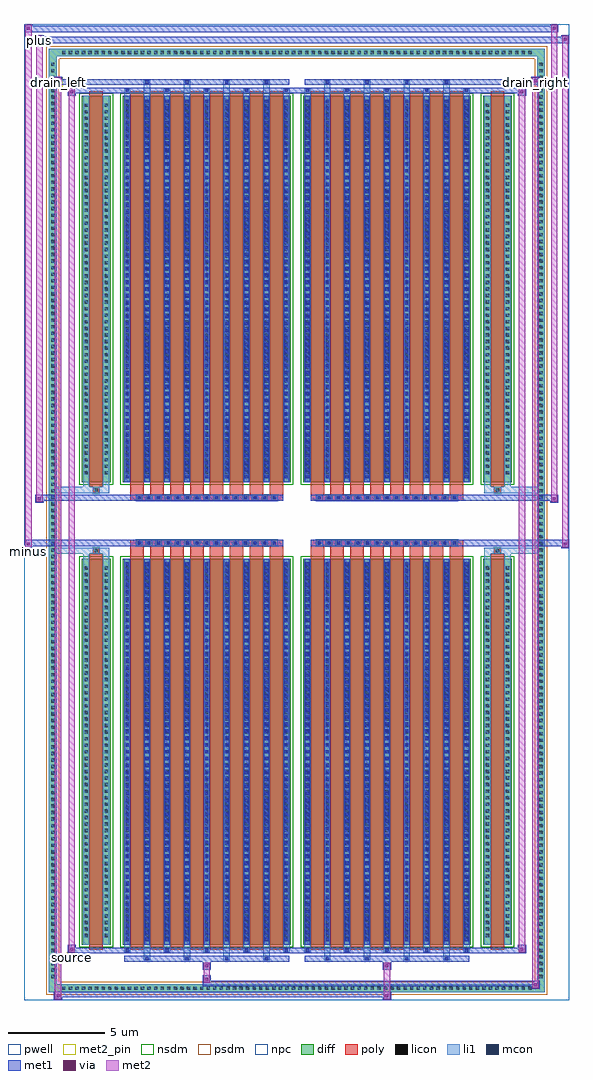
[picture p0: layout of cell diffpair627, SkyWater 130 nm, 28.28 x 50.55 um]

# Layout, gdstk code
import gdstk
lib = gdstk.Library(unit=1e-6, precision=5e-09)
def R(c, l, rs):  # rectangles x0, y0, x1, y1
    for r in rs: c.add(gdstk.rectangle(r[:2], r[2:], *l))
def A(c, l, x, y, w, h, nx, ny, dx, dy):  # array of equal rectangles
    R(c, l, [(x+i*dx, y+j*dy, x+i*dx+w, y+j*dy+h) for i in range(nx) for j in range(ny)])
def P(c, l, *ps):  # polygons
    for p in ps: c.add(gdstk.Polygon(p, *l))
pwell = (64, 44)
diff = (65, 20)
poly = (66, 20)
licon = (66, 44)
li1 = (67, 20)
mcon = (67, 44)
met1 = (68, 20)
via = (68, 44)
met2_pin = (69, 16)
met2 = (69, 20)
nsdm = (93, 44)
psdm = (94, 20)
npc = (95, 20)

diffpair627 = lib.new_cell('diffpair627')
R(diffpair627, pwell, [(-14.12,-24.84,14.12,25.71), (-11.44,-23.03,-0.01,-0.805), (0.01,-23.03,11.44,-0.805), (-11.44,0.805,-0.01,23.03), (0.01,0.805,11.44,23.03)])
A(diffpair627, diff, -12.275, -24.44, 0.41, 0.41, 72, 2, 0.34, 48.47)
A(diffpair627, diff, -12.85, -23.835, 0.41, 0.41, 1, 140, 0, 0.34)
A(diffpair627, diff, 12.44, -23.835, 0.41, 0.41, 1, 140, 0, 0.34)
R(diffpair627, diff, [(-12.275,-24.44,12.275,-24.03), (-12.85,-23.835,-12.44,23.835), (12.44,-23.835,12.85,23.835), (-11.13,-21.985,-9.65,-1.985), (-9.01,-21.985,-0.32,-1.985), (0.32,-21.985,9.01,-1.985), (9.65,-21.985,11.13,-1.985), (-11.13,1.985,-9.65,21.985), (-9.01,1.985,-0.32,21.985), (0.32,1.985,9.01,21.985), (9.65,1.985,11.13,21.985), (-12.275,24.03,12.275,24.44)])
P(diffpair627, diff, [(12.85,24.44),(-12.85,24.44),(-12.85,-24.03),(-12.44,-24.03),(-12.44,24.03),(12.44,24.03),(12.44,-24.03),(-12.44,-24.03),(-12.85,-24.03),(-12.85,-24.44),(12.85,-24.44)])
A(diffpair627, poly, -8.62, -22.235, 0.7, 20.5, 8, 2, 1.03, 23.97)
A(diffpair627, poly, 0.71, -22.235, 0.7, 20.5, 8, 2, 1.03, 23.97)
A(diffpair627, poly, -8.62, -1.735, 0.7, 0.4, 8, 2, 1.03, 3.07)
A(diffpair627, poly, 0.71, -1.735, 0.7, 0.4, 8, 2, 1.03, 3.07)
A(diffpair627, poly, -8.33, -1.335, 0.33, 0.33, 15, 2, 0.5, 2.34)
A(diffpair627, poly, 1, -1.335, 0.33, 0.33, 15, 2, 0.5, 2.34)
R(diffpair627, poly, [(-10.74,-22.235,-10.04,-1.735), (10.04,-22.235,10.74,-1.735), (-10.555,-1.735,-10.225,-1.405), (-10.555,-1.735,-10.225,-1.405), (10.225,-1.735,10.555,-1.405), (10.225,-1.735,10.555,-1.405), (-8.62,-1.335,-0.71,-1.005), (0.71,-1.335,8.62,-1.005), (-8.62,1.005,-0.71,1.335), (0.71,1.005,8.62,1.335), (-10.555,1.405,-10.225,1.735), (-10.555,1.405,-10.225,1.735), (10.225,1.405,10.555,1.735), (10.225,1.405,10.555,1.735), (-10.74,1.735,-10.04,22.235), (10.04,1.735,10.74,22.235)])
A(diffpair627, licon, -12.155, -24.32, 0.17, 0.17, 72, 2, 0.34, 48.47)
A(diffpair627, licon, -12.73, -23.715, 0.17, 0.17, 1, 140, 0, 0.34)
A(diffpair627, licon, 12.56, -23.715, 0.17, 0.17, 1, 140, 0, 0.34)
A(diffpair627, licon, -10.99, -21.59, 0.17, 0.17, 1, 57, 0, 0.34)
A(diffpair627, licon, -9.96, -21.59, 0.17, 0.17, 1, 57, 0, 0.34)
A(diffpair627, licon, -8.87, -21.59, 0.17, 0.17, 9, 57, 1.03, 0.34)
A(diffpair627, licon, 0.46, -21.59, 0.17, 0.17, 9, 57, 1.03, 0.34)
A(diffpair627, licon, 9.79, -21.59, 0.17, 0.17, 1, 57, 0, 0.34)
A(diffpair627, licon, 10.82, -21.59, 0.17, 0.17, 1, 57, 0, 0.34)
A(diffpair627, licon, -8.25, -1.255, 0.17, 0.17, 15, 2, 0.5, 2.34)
A(diffpair627, licon, 1.08, -1.255, 0.17, 0.17, 15, 2, 0.5, 2.34)
A(diffpair627, licon, -10.99, 2.38, 0.17, 0.17, 1, 57, 0, 0.34)
A(diffpair627, licon, -9.96, 2.38, 0.17, 0.17, 1, 57, 0, 0.34)
A(diffpair627, licon, -8.87, 2.38, 0.17, 0.17, 9, 57, 1.03, 0.34)
A(diffpair627, licon, 0.46, 2.38, 0.17, 0.17, 9, 57, 1.03, 0.34)
A(diffpair627, licon, 9.79, 2.38, 0.17, 0.17, 1, 57, 0, 0.34)
A(diffpair627, licon, 10.82, 2.38, 0.17, 0.17, 1, 57, 0, 0.34)
R(diffpair627, licon, [(-10.475,-1.655,-10.305,-1.485), (10.305,-1.655,10.475,-1.485), (-10.475,1.485,-10.305,1.655), (10.305,1.485,10.475,1.655)])
A(diffpair627, li1, -12.235, -24.4, 0.33, 0.33, 72, 2, 0.34, 48.47)
A(diffpair627, li1, -12.81, -23.795, 0.33, 0.33, 1, 140, 0, 0.34)
A(diffpair627, li1, 12.48, -23.795, 0.33, 0.33, 1, 140, 0, 0.34)
A(diffpair627, li1, -7.92, -22.79, 0.33, 0.805, 4, 2, 2.06, 44.775)
A(diffpair627, li1, -7.84, -22.79, 0.17, 0.17, 4, 2, 2.06, 45.41)
A(diffpair627, li1, 1.41, -22.79, 0.33, 0.805, 4, 2, 2.06, 44.775)
A(diffpair627, li1, 1.49, -22.79, 0.17, 0.17, 4, 2, 2.06, 45.41)
A(diffpair627, li1, -8.95, -22.36, 0.33, 0.375, 5, 2, 2.06, 44.345)
A(diffpair627, li1, -8.87, -22.36, 0.17, 0.17, 5, 2, 2.06, 44.55)
A(diffpair627, li1, 0.38, -22.36, 0.33, 0.375, 5, 2, 2.06, 44.345)
A(diffpair627, li1, 0.46, -22.36, 0.17, 0.17, 5, 2, 2.06, 44.55)
A(diffpair627, li1, -8.95, -21.985, 0.33, 20, 9, 2, 1.03, 23.97)
A(diffpair627, li1, 0.38, -21.985, 0.33, 20, 9, 2, 1.03, 23.97)
A(diffpair627, li1, -8.87, -21.79, 0.17, 0.17, 9, 55, 1.03, 0.36)
A(diffpair627, li1, -8.87, -21.79, 0.17, 19.61, 9, 2, 1.03, 23.97)
A(diffpair627, li1, 0.46, -21.79, 0.17, 0.17, 9, 55, 1.03, 0.36)
A(diffpair627, li1, 0.46, -21.79, 0.17, 19.61, 9, 2, 1.03, 23.97)
A(diffpair627, li1, -11.07, -21.67, 0.33, 0.33, 1, 57, 0, 0.34)
A(diffpair627, li1, -10.04, -21.67, 0.33, 0.33, 1, 57, 0, 0.34)
A(diffpair627, li1, -8.95, -21.67, 0.33, 0.33, 9, 57, 1.03, 0.34)
A(diffpair627, li1, 0.38, -21.67, 0.33, 0.33, 9, 57, 1.03, 0.34)
A(diffpair627, li1, 9.71, -21.67, 0.33, 0.33, 1, 57, 0, 0.34)
A(diffpair627, li1, 10.74, -21.67, 0.33, 0.33, 1, 57, 0, 0.34)
A(diffpair627, li1, -8.33, -1.335, 0.33, 0.33, 15, 2, 0.5, 2.34)
A(diffpair627, li1, 1, -1.335, 0.33, 0.33, 15, 2, 0.5, 2.34)
A(diffpair627, li1, -8.87, 2.18, 0.17, 0.17, 9, 55, 1.03, 0.36)
A(diffpair627, li1, 0.46, 2.18, 0.17, 0.17, 9, 55, 1.03, 0.36)
A(diffpair627, li1, -11.07, 2.3, 0.33, 0.33, 1, 57, 0, 0.34)
A(diffpair627, li1, -10.04, 2.3, 0.33, 0.33, 1, 57, 0, 0.34)
A(diffpair627, li1, -8.95, 2.3, 0.33, 0.33, 9, 57, 1.03, 0.34)
A(diffpair627, li1, 0.38, 2.3, 0.33, 0.33, 9, 57, 1.03, 0.34)
A(diffpair627, li1, 9.71, 2.3, 0.33, 0.33, 1, 57, 0, 0.34)
A(diffpair627, li1, 10.74, 2.3, 0.33, 0.33, 1, 57, 0, 0.34)
R(diffpair627, li1, [(-12.85,-24.44,-12.44,-24.03), (-12.85,-24.44,-12.44,-24.03), (-12.44,-24.44,12.44,-24.03), (12.44,-24.44,12.85,-24.03), (12.44,-24.44,12.85,-24.03), (-12.85,-24.03,-12.44,24.03), (12.44,-24.03,12.85,24.03), (-11.07,-21.985,-10.74,-1.985), (-10.04,-21.985,-9.71,-1.985), (9.71,-21.985,10.04,-1.985), (10.74,-21.985,11.07,-1.985), (-11.07,-1.985,-10.74,-1.405), (-10.04,-1.985,-9.71,-1.405), (9.71,-1.985,10.04,-1.405), (10.74,-1.985,11.07,-1.405), (-12.85,-1.735,-10.555,-1.405), (-11.07,-1.735,-10.555,-1.405), (-10.555,-1.735,-10.225,-1.405), (-10.225,-1.735,-9.71,-1.405), (9.71,-1.735,10.225,-1.405), (10.225,-1.735,10.555,-1.405), (10.225,-1.735,12.85,-1.405), (10.555,-1.735,11.07,-1.405), (-12.85,1.405,-10.555,1.735), (-11.07,1.405,-10.555,1.735), (-11.07,1.405,-10.74,1.985), (-10.555,1.405,-10.225,1.735), (-10.225,1.405,-9.71,1.735), (-10.04,1.405,-9.71,1.985), (9.71,1.405,10.225,1.735), (9.71,1.405,10.04,1.985), (10.225,1.405,10.555,1.735), (10.225,1.405,12.85,1.735), (10.555,1.405,11.07,1.735), (10.74,1.405,11.07,1.985), (-11.07,1.985,-10.74,21.985), (-10.04,1.985,-9.71,21.985), (9.71,1.985,10.04,21.985), (10.74,1.985,11.07,21.985), (-12.85,24.03,-12.44,24.44), (-12.85,24.03,-12.44,24.44), (-12.44,24.03,12.44,24.44), (12.44,24.03,12.85,24.44), (12.44,24.03,12.85,24.44)])
A(diffpair627, mcon, -7.84, -22.79, 0.17, 0.17, 4, 2, 2.06, 45.41)
A(diffpair627, mcon, 1.49, -22.79, 0.17, 0.17, 4, 2, 2.06, 45.41)
A(diffpair627, mcon, -8.87, -22.36, 0.17, 0.17, 5, 2, 2.06, 44.55)
A(diffpair627, mcon, 0.46, -22.36, 0.17, 0.17, 5, 2, 2.06, 44.55)
A(diffpair627, mcon, -8.87, -21.79, 0.17, 0.17, 9, 55, 1.03, 0.36)
A(diffpair627, mcon, 0.46, -21.79, 0.17, 0.17, 9, 55, 1.03, 0.36)
A(diffpair627, mcon, -8.25, -1.255, 0.17, 0.17, 15, 2, 0.5, 2.34)
A(diffpair627, mcon, 1.08, -1.255, 0.17, 0.17, 15, 2, 0.5, 2.34)
A(diffpair627, mcon, -8.87, 2.18, 0.17, 0.17, 9, 55, 1.03, 0.36)
A(diffpair627, mcon, 0.46, 2.18, 0.17, 0.17, 9, 55, 1.03, 0.36)
A(diffpair627, met1, -7.9, -22.85, 0.29, 0.29, 4, 2, 2.06, 45.41)
A(diffpair627, met1, 1.43, -22.85, 0.29, 0.29, 4, 2, 2.06, 45.41)
A(diffpair627, met1, -8.93, -22.42, 0.29, 0.29, 5, 2, 2.06, 44.55)
A(diffpair627, met1, 0.4, -22.42, 0.29, 0.29, 5, 2, 2.06, 44.55)
A(diffpair627, met1, -8.93, -21.985, 0.29, 20, 9, 2, 1.03, 23.97)
A(diffpair627, met1, 0.4, -21.985, 0.29, 20, 9, 2, 1.03, 23.97)
A(diffpair627, met1, -8.93, -21.85, 0.29, 0.29, 9, 55, 1.03, 0.36)
A(diffpair627, met1, 0.4, -21.85, 0.29, 0.29, 9, 55, 1.03, 0.36)
A(diffpair627, met1, -8.31, -1.315, 0.29, 0.29, 15, 2, 0.5, 2.34)
A(diffpair627, met1, 1.02, -1.315, 0.29, 0.29, 15, 2, 0.5, 2.34)
A(diffpair627, met1, -8.93, 2.12, 0.29, 0.29, 9, 55, 1.03, 0.36)
A(diffpair627, met1, 0.4, 2.12, 0.29, 0.29, 9, 55, 1.03, 0.36)
R(diffpair627, met1, [(-12.58,-24.84,-12.15,-24.41), (4.45,-24.84,4.88,-24.41), (-12.58,-24.7,4.88,-24.41), (12.15,-24.27,12.58,-23.84), (-4.88,-24.13,12.58,-23.84), (-4.88,-23.99,-4.45,-23.56), (-4.88,-23.28,-4.45,-22.85), (4.45,-23.28,4.88,-22.85), (-8.93,-22.85,-0.4,-22.56), (0.4,-22.85,8.93,-22.56), (-11.87,-22.42,-11.44,-21.99), (-11.87,-22.42,-8.93,-22.13), (-8.93,-22.42,-0.4,-22.13), (-0.4,-22.42,0.4,-22.13), (0.4,-22.42,8.93,-22.13), (8.93,-22.42,11.87,-22.13), (11.44,-22.42,11.87,-21.99), (-14.12,-1.435,-13.69,-1.005), (13.69,-1.435,14.12,-1.005), (-14.12,-1.335,-0.71,-1.005), (-8.62,-1.335,-0.71,-1.005), (0.71,-1.335,8.62,-1.005), (0.71,-1.335,14.12,-1.005), (-13.55,0.905,-13.12,1.335), (13.12,0.905,13.55,1.335), (-13.55,1.005,-8.62,1.335), (-8.62,1.005,-0.71,1.335), (0.71,1.005,8.62,1.335), (8.62,1.005,13.55,1.335), (-11.87,21.99,-11.44,22.42), (11.44,21.99,11.87,22.42), (-11.87,22.13,-8.93,22.42), (-8.93,22.13,-0.4,22.42), (-0.4,22.13,0.4,22.42), (0.4,22.13,8.93,22.42), (8.93,22.13,11.87,22.42), (-12.58,22.56,-12.15,22.99), (-12.58,22.56,-8.93,22.85), (-8.93,22.56,-0.4,22.85), (0.4,22.56,8.93,22.85), (8.93,22.56,12.58,22.85), (12.15,22.56,12.58,22.99), (-13.55,24.71,-13.12,25.14), (-13.55,24.71,-11.44,25.04), (-11.44,24.71,11.44,25.04), (11.44,24.71,14.12,25.04), (13.69,24.71,14.12,25.14), (-14.12,25.28,-13.69,25.71), (-14.12,25.28,-11.44,25.61), (-11.44,25.28,11.44,25.61), (11.44,25.28,13.55,25.61), (13.12,25.28,13.55,25.71)])
R(diffpair627, via, [(-12.44,-24.7,-12.29,-24.55), (4.59,-24.7,4.74,-24.55), (12.29,-24.13,12.44,-23.98), (-4.74,-23.85,-4.59,-23.7), (-4.74,-23.14,-4.59,-22.99), (4.59,-23.14,4.74,-22.99), (-11.73,-22.28,-11.58,-22.13), (11.58,-22.28,11.73,-22.13), (-13.98,-1.295,-13.83,-1.145), (13.83,-1.295,13.98,-1.145), (-13.41,1.045,-13.26,1.195), (13.26,1.045,13.41,1.195), (-11.73,22.13,-11.58,22.28), (11.58,22.13,11.73,22.28), (-12.44,22.7,-12.29,22.85), (12.29,22.7,12.44,22.85), (-13.41,24.85,-13.26,25), (13.83,24.85,13.98,25), (-13.98,25.42,-13.83,25.57), (13.26,25.42,13.41,25.57)])
R(diffpair627, met2_pin, [(-11.905,-22.87,-11.405,-22.37), (-14.155,-1.885,-13.655,-1.385), (-12.615,22.44,-12.115,22.94), (12.115,22.44,12.615,22.94), (-13.585,24.59,-13.085,25.09)])
R(diffpair627, met2, [(-12.53,-24.79,-12.2,-24.46), (-12.53,-24.79,-12.2,22.94), (4.5,-24.79,4.83,-24.46), (4.5,-24.46,4.83,-23.23), (12.2,-24.22,12.53,-23.89), (12.2,-24.22,12.53,22.94), (-4.83,-23.94,-4.5,-23.61), (-4.83,-23.61,-4.5,-23.23), (-4.83,-23.23,-4.5,-22.9), (4.5,-23.23,4.83,-22.9), (-11.82,-22.37,-11.49,-22.04), (-11.82,-22.37,-11.49,22.37), (11.49,-22.37,11.82,-22.04), (11.49,-22.37,11.82,22.37), (-14.07,-1.385,-13.74,-1.055), (-14.07,-1.385,-13.74,25.66), (13.74,-1.385,14.07,-1.055), (13.74,-1.385,14.07,25.09), (-13.5,0.955,-13.17,1.285), (-13.5,0.955,-13.17,25.09), (13.17,0.955,13.5,1.285), (13.17,0.955,13.5,25.66), (-11.82,22.04,-11.49,22.37), (11.49,22.04,11.82,22.37), (-12.53,22.61,-12.2,22.94), (12.2,22.61,12.53,22.94), (-13.5,24.76,-13.17,25.09), (13.74,24.76,14.07,25.09), (-14.07,25.33,-13.74,25.66), (13.17,25.33,13.5,25.66)])
P(diffpair627, met2, [(14.07,-1.385),(14.07,-1.385),(14.07,-1.055),(14.07,-1.055)],
  [(14.07,24.76),(14.07,24.76),(14.07,25.09),(14.07,25.09)],
  [(-13.74,-1.385),(-13.74,-1.385),(-13.74,-1.055),(-13.74,-1.055)],
  [(-13.74,25.33),(-13.74,25.33),(-13.74,25.66),(-13.74,25.66)],
  [(13.5,0.955),(13.5,0.955),(13.5,1.285),(13.5,1.285)],
  [(13.5,25.33),(13.5,25.33),(13.5,25.66),(13.5,25.66)],
  [(-13.17,0.955),(-13.17,0.955),(-13.17,1.285),(-13.17,1.285)],
  [(-13.17,24.76),(-13.17,24.76),(-13.17,25.09),(-13.17,25.09)],
  [(-12.2,-24.79),(-12.2,-24.79),(-12.2,-24.46),(-12.2,-24.46)],
  [(-12.2,22.61),(-12.2,22.61),(-12.2,22.94),(-12.2,22.94)],
  [(12.53,-24.22),(12.53,-24.22),(12.53,-23.89),(12.53,-23.89)],
  [(12.53,22.61),(12.53,22.61),(12.53,22.94),(12.53,22.94)],
  [(-11.49,-22.37),(-11.49,-22.37),(-11.49,-22.04),(-11.49,-22.04)],
  [(-11.49,22.04),(-11.49,22.04),(-11.49,22.37),(-11.49,22.37)],
  [(11.82,-22.37),(11.82,-22.37),(11.82,-22.04),(11.82,-22.04)],
  [(11.82,22.04),(11.82,22.04),(11.82,22.37),(11.82,22.37)])
R(diffpair627, nsdm, [(-11.26,-22.115,-9.52,-1.855), (-9.14,-22.115,-0.19,-1.855), (0.19,-22.115,9.14,-1.855), (9.52,-22.115,11.26,-1.855), (-11.26,1.855,-9.52,22.115), (-9.14,1.855,-0.19,22.115), (0.19,1.855,9.14,22.115), (9.52,1.855,11.26,22.115)])
P(diffpair627, psdm, [(12.98,24.57),(-12.98,24.57),(-12.98,-23.9),(-12.31,-23.9),(-12.31,23.9),(12.31,23.9),(12.31,-23.9),(-12.31,-23.9),(-12.98,-23.9),(-12.98,-24.57),(12.98,-24.57)])
A(diffpair627, npc, -8.35, -1.355, 0.37, 0.37, 15, 2, 0.5, 2.34)
A(diffpair627, npc, 0.98, -1.355, 0.37, 0.37, 15, 2, 0.5, 2.34)
R(diffpair627, npc, [(-10.575,-1.755,-10.205,-1.385), (10.205,-1.755,10.575,-1.385), (-8.35,-1.355,-7.48,-0.985), (-8.35,-1.355,-7.48,-0.985), (-7.85,-1.355,-6.98,-0.985), (-7.85,-1.355,-6.98,-0.985), (-7.35,-1.355,-6.48,-0.985), (-7.35,-1.355,-6.48,-0.985), (-6.85,-1.355,-5.98,-0.985), (-6.85,-1.355,-5.98,-0.985), (-6.35,-1.355,-5.48,-0.985), (-6.35,-1.355,-5.48,-0.985), (-5.85,-1.355,-4.98,-0.985), (-5.85,-1.355,-4.98,-0.985), (-5.35,-1.355,-4.48,-0.985), (-5.35,-1.355,-4.48,-0.985), (-4.85,-1.355,-3.98,-0.985), (-4.85,-1.355,-3.98,-0.985), (-4.35,-1.355,-3.48,-0.985), (-4.35,-1.355,-3.48,-0.985), (-3.85,-1.355,-2.98,-0.985), (-3.85,-1.355,-2.98,-0.985), (-3.35,-1.355,-2.48,-0.985), (-3.35,-1.355,-2.48,-0.985), (-2.85,-1.355,-1.98,-0.985), (-2.85,-1.355,-1.98,-0.985), (-2.35,-1.355,-1.48,-0.985), (-2.35,-1.355,-1.48,-0.985), (-1.85,-1.355,-0.98,-0.985), (-1.85,-1.355,-0.98,-0.985), (0.98,-1.355,1.85,-0.985), (0.98,-1.355,1.85,-0.985), (1.48,-1.355,2.35,-0.985), (1.48,-1.355,2.35,-0.985), (1.98,-1.355,2.85,-0.985), (1.98,-1.355,2.85,-0.985), (2.48,-1.355,3.35,-0.985), (2.48,-1.355,3.35,-0.985), (2.98,-1.355,3.85,-0.985), (2.98,-1.355,3.85,-0.985), (3.48,-1.355,4.35,-0.985), (3.48,-1.355,4.35,-0.985), (3.98,-1.355,4.85,-0.985), (3.98,-1.355,4.85,-0.985), (4.48,-1.355,5.35,-0.985), (4.48,-1.355,5.35,-0.985), (4.98,-1.355,5.85,-0.985), (4.98,-1.355,5.85,-0.985), (5.48,-1.355,6.35,-0.985), (5.48,-1.355,6.35,-0.985), (5.98,-1.355,6.85,-0.985), (5.98,-1.355,6.85,-0.985), (6.48,-1.355,7.35,-0.985), (6.48,-1.355,7.35,-0.985), (6.98,-1.355,7.85,-0.985), (6.98,-1.355,7.85,-0.985), (7.48,-1.355,8.35,-0.985), (7.48,-1.355,8.35,-0.985), (-8.35,0.985,-7.48,1.355), (-8.35,0.985,-7.48,1.355), (-7.85,0.985,-6.98,1.355), (-7.85,0.985,-6.98,1.355), (-7.35,0.985,-6.48,1.355), (-7.35,0.985,-6.48,1.355), (-6.85,0.985,-5.98,1.355), (-6.85,0.985,-5.98,1.355), (-6.35,0.985,-5.48,1.355), (-6.35,0.985,-5.48,1.355), (-5.85,0.985,-4.98,1.355), (-5.85,0.985,-4.98,1.355), (-5.35,0.985,-4.48,1.355), (-5.35,0.985,-4.48,1.355), (-4.85,0.985,-3.98,1.355), (-4.85,0.985,-3.98,1.355), (-4.35,0.985,-3.48,1.355), (-4.35,0.985,-3.48,1.355), (-3.85,0.985,-2.98,1.355), (-3.85,0.985,-2.98,1.355), (-3.35,0.985,-2.48,1.355), (-3.35,0.985,-2.48,1.355), (-2.85,0.985,-1.98,1.355), (-2.85,0.985,-1.98,1.355), (-2.35,0.985,-1.48,1.355), (-2.35,0.985,-1.48,1.355), (-1.85,0.985,-0.98,1.355), (-1.85,0.985,-0.98,1.355), (0.98,0.985,1.85,1.355), (0.98,0.985,1.85,1.355), (1.48,0.985,2.35,1.355), (1.48,0.985,2.35,1.355), (1.98,0.985,2.85,1.355), (1.98,0.985,2.85,1.355), (2.48,0.985,3.35,1.355), (2.48,0.985,3.35,1.355), (2.98,0.985,3.85,1.355), (2.98,0.985,3.85,1.355), (3.48,0.985,4.35,1.355), (3.48,0.985,4.35,1.355), (3.98,0.985,4.85,1.355), (3.98,0.985,4.85,1.355), (4.48,0.985,5.35,1.355), (4.48,0.985,5.35,1.355), (4.98,0.985,5.85,1.355), (4.98,0.985,5.85,1.355), (5.48,0.985,6.35,1.355), (5.48,0.985,6.35,1.355), (5.98,0.985,6.85,1.355), (5.98,0.985,6.85,1.355), (6.48,0.985,7.35,1.355), (6.48,0.985,7.35,1.355), (6.98,0.985,7.85,1.355), (6.98,0.985,7.85,1.355), (7.48,0.985,8.35,1.355), (7.48,0.985,8.35,1.355), (-10.575,1.385,-10.205,1.755), (10.205,1.385,10.575,1.755)])
diffpair627.add(gdstk.Label('minus', (-13.905,-1.635), layer=69, texttype=5))
diffpair627.add(gdstk.Label('drain_right', (12.365,22.69), layer=69, texttype=5))
diffpair627.add(gdstk.Label('drain_left', (-12.365,22.69), layer=69, texttype=5))
diffpair627.add(gdstk.Label('source', (-11.655,-22.62), layer=69, texttype=5))
diffpair627.add(gdstk.Label('plus', (-13.335,24.84), layer=69, texttype=5))

lib.write_gds('diffpair627.gds')
